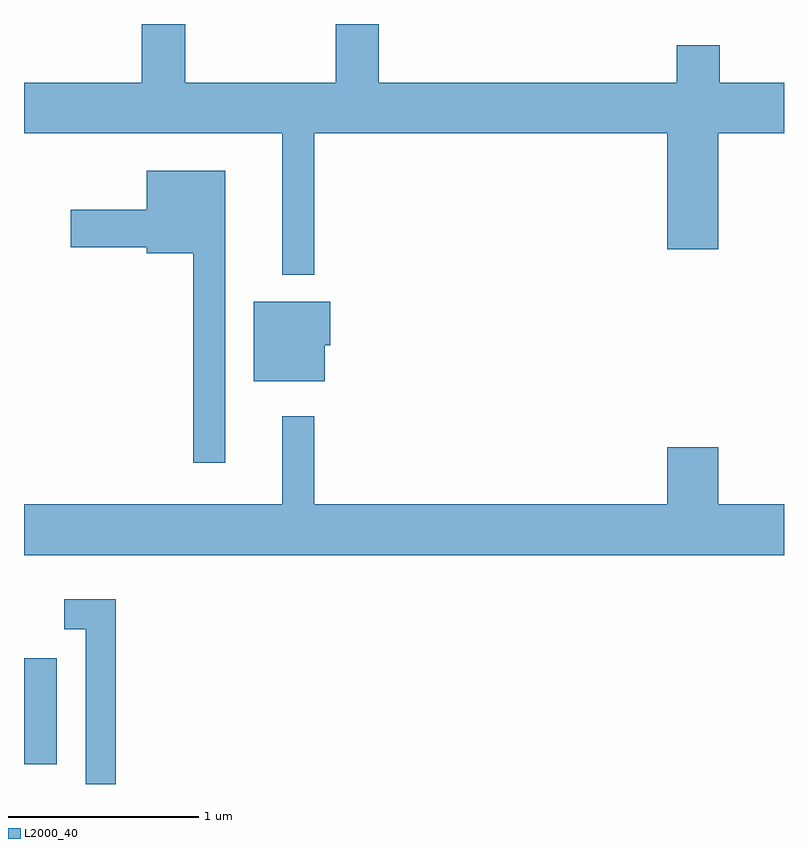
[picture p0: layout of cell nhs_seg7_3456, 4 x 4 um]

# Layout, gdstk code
import gdstk
lib = gdstk.Library(unit=1e-6, precision=1e-09)
def R(c, l, rs):  # rectangles x0, y0, x1, y1
    for r in rs: c.add(gdstk.rectangle(r[:2], r[2:], *l))
def P(c, l, *ps):  # polygons
    for p in ps: c.add(gdstk.Polygon(p, *l))
L2000_40 = (2000, 40)

nhs_seg7_3456 = lib.new_cell('nhs_seg7_3456')
R(nhs_seg7_3456, L2000_40, [(291.611,1684.356,291.784,1684.914)])
P(nhs_seg7_3456, L2000_40, [(292.971,1686.933),(293.139,1686.933),(293.139,1687.676),(294.996,1687.676),(294.996,1687.066),(295.264,1687.066),(295.264,1687.676),(295.611,1687.676),(295.611,1687.944),(295.274,1687.944),(295.274,1688.139),(295.046,1688.139),(295.046,1687.944),(293.479,1687.944),(293.479,1688.252),(293.251,1688.252),(293.251,1687.944),(292.459,1687.944),(292.459,1688.252),(292.231,1688.252),(292.231,1687.944),(291.611,1687.944),(291.611,1687.676),(292.971,1687.676)],
  [(292.669,1687.479),(292.256,1687.479),(292.256,1687.274),(291.856,1687.274),(291.856,1687.076),(292.256,1687.076),(292.256,1687.046),(292.501,1687.046),(292.501,1685.943),(292.669,1685.943)],
  [(293.194,1686.561),(293.224,1686.561),(293.224,1686.789),(292.821,1686.789),(292.821,1686.371),(293.194,1686.371)],
  [(295.611,1685.724),(295.264,1685.724),(295.264,1686.024),(294.996,1686.024),(294.996,1685.724),(293.139,1685.724),(293.139,1686.188),(292.971,1686.188),(292.971,1685.724),(291.611,1685.724),(291.611,1685.456),(295.611,1685.456)],
  [(292.094,1685.224),(291.823,1685.224),(291.823,1685.066),(291.936,1685.066),(291.936,1684.252),(292.094,1684.252)])

lib.write_gds('nhs_seg7_3456.gds')
